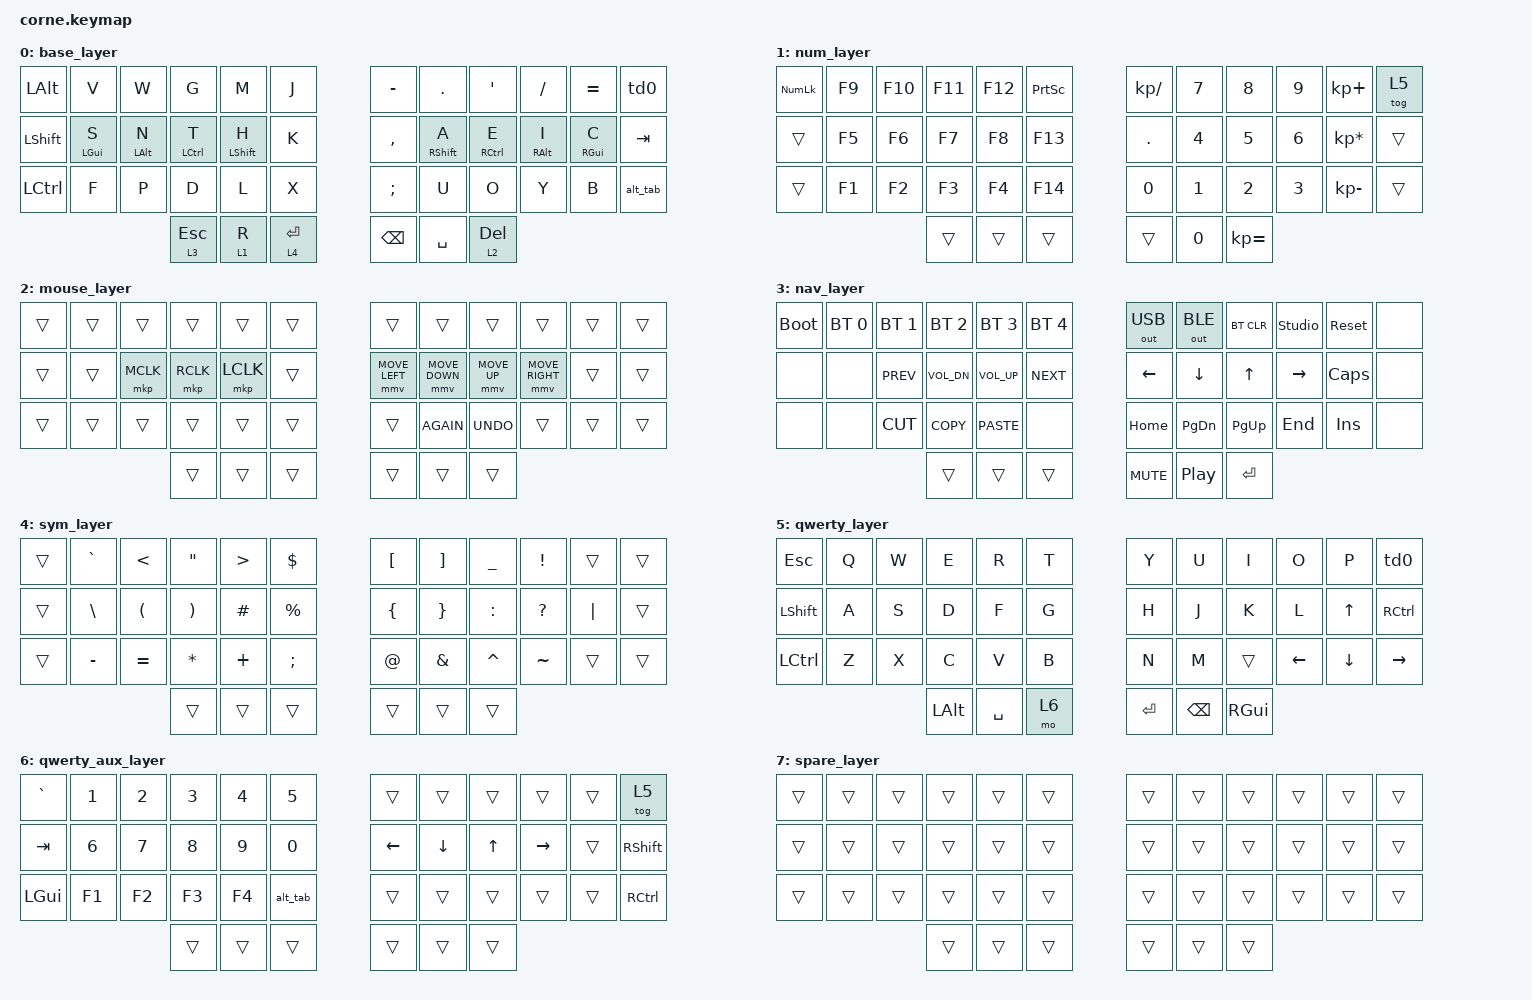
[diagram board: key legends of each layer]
/*
 * Hands Down Promethium, ported from vial-qmk (boardsource/unicorne).
 * Source of truth: promethium.vil, UID 0x73FD111F7F19C933.
 *
 * Key positions (used by the combos below):
 *    0  1  2  3  4  5     6  7  8  9 10 11
 *   12 13 14 15 16 17    18 19 20 21 22 23
 *   24 25 26 27 28 29    30 31 32 33 34 35
 *         36 37 38       39 40 41
 */

#include <behaviors.dtsi>
#include <dt-bindings/zmk/keys.h>
#include <dt-bindings/zmk/bt.h>
#include <dt-bindings/zmk/outputs.h>
#include <dt-bindings/zmk/pointing.h>

// Vial: mousekey_interval 20 x time_to_max 30 ~= 600ms to full speed.
// ZMK defaults to 300ms, which feels twitchy next to the original.
&mmv {
        time-to-max-speed-ms = <600>;
};

/ {
        behaviors {
                // Vial: tapping_term 200, quick_tap_term 200, flow_tap_term 80,
                // permissive_hold on, hold_on_other_key_press off -> "balanced".
                // Positional hold-tap: a mod only engages if the next key is on the
                // other hand, which kills same-hand roll misfires. Vial had
                // chordal_hold off, so this is an upgrade on the source, not a port.
                // hold-trigger-on-release keeps same-hand mod stacks (ctrl+shift).
                hml: home_row_mod_left {
                        compatible = "zmk,behavior-hold-tap";
                        #binding-cells = <2>;
                        flavor = "balanced";
                        tapping-term-ms = <200>;
                        quick-tap-ms = <200>;
                        require-prior-idle-ms = <80>;
                        hold-trigger-key-positions = <6 7 8 9 10 11 18 19 20 21 22 23 30 31 32 33 34 35 39 40 41>;
                        hold-trigger-on-release;
                        bindings = <&kp>, <&kp>;
                };

                hmr: home_row_mod_right {
                        compatible = "zmk,behavior-hold-tap";
                        #binding-cells = <2>;
                        flavor = "balanced";
                        tapping-term-ms = <200>;
                        quick-tap-ms = <200>;
                        require-prior-idle-ms = <80>;
                        hold-trigger-key-positions = <0 1 2 3 4 5 12 13 14 15 16 17 24 25 26 27 28 29 36 37 38>;
                        hold-trigger-on-release;
                        bindings = <&kp>, <&kp>;
                };

                // Same timings for the thumb layer-taps, minus require-prior-idle
                // so a layer press right after a keystroke still reaches the layer.
                ltb: layer_tap_balanced {
                        compatible = "zmk,behavior-hold-tap";
                        #binding-cells = <2>;
                        flavor = "balanced";
                        tapping-term-ms = <200>;
                        quick-tap-ms = <200>;
                        bindings = <&mo>, <&kp>;
                };

                // TD(0): tap and hold were both KC_RGUI, double tap toggles layer 5.
                td0: tap_dance_rgui {
                        compatible = "zmk,behavior-tap-dance";
                        #binding-cells = <0>;
                        tapping-term-ms = <200>;
                        bindings = <&kp RGUI>, <&tog 5>;
                };
        };

        macros {
                qu: qu_macro {
                        compatible = "zmk,behavior-macro";
                        #binding-cells = <0>;
                        bindings = <&kp Q &kp U>;
                };

                alt_tab: alt_tab_macro {
                        compatible = "zmk,behavior-macro";
                        #binding-cells = <0>;
                        bindings
                                = <&macro_press &kp LALT>
                                , <&macro_tap &kp TAB>
                                , <&macro_release &kp LALT>
                                ;
                };
        };

        combos {
                compatible = "zmk,combos";

                // layers = <0> is required, not cosmetic. Vial combos match on
                // keycode, ZMK combos match on position. Without this, positions
                // 7 8 9 are 7 8 9 on the number layer, so typing "78" would fire
                // TAB and "789" would fire alt-tab.
                // alt-tab used to be a 7+8+9 combo. Dropped: it made 7+8 (TAB) wait
                // out the full 50ms window to rule out a third key. alt_tab now
                // lives on position 35, which was dead on the base layer.
                combo_q       { timeout-ms = <50>; key-positions = <3 4>;   layers = <0>; bindings = <&kp Q>; };
                combo_z       { timeout-ms = <50>; key-positions = <2 3>;   layers = <0>; bindings = <&kp Z>; };
                combo_qu      { timeout-ms = <50>; key-positions = <2 4>;   layers = <0>; bindings = <&qu>; };
                // No caps combo. 28+31 were L and U, and "ul" lands in would,
                // could, should, result, difficult. A prior-idle guard fixed it
                // here but QMK has no per-combo equivalent, so the boards could
                // not match. CAPS lives on the nav layer at position 22, which
                // is cross-hand from the nav thumb.

                // Sticky symbols. Positions 6 and 9 are - and / : punctuation
                // rather than letters, so there is no bigram to misfire on, and
                // neither key is hot enough for the combo buffering to matter.
                // No prior-idle guard, symbols are needed mid-token (foo->bar).
                combo_sym     { timeout-ms = <50>; key-positions = <6 9>;   layers = <0>; bindings = <&sl 4>; };
        };

        keymap {
                compatible = "zmk,keymap";

                base_layer {
// -----------------------------------------------------------------------------------------
// | ALT  |  V  |  W  |  G  |  M  |  J  |   |  -  |  .  |  '  |  /  |  =  | TD0 |
// | SHFT |  S  |  N  |  T  |  H  |  K  |   |  ,  |  A  |  E  |  I  |  C  | TAB |
// | CTRL |  F  |  P  |  D  |  L  |  X  |   |  ;  |  U  |  O  |  Y  |  B  |ALTAB|
//                    |L3/ESC| L1/R| L4/ENT|  | BSPC | SPC | L2/DEL |
                        bindings = <
   &kp LALT  &kp V      &kp W      &kp G       &kp M       &kp J    &kp MINUS &kp DOT      &kp SQT      &kp FSLH    &kp EQUAL   &td0
   &kp LSHFT &hml LGUI S &hml LALT N &hml LCTRL T &hml LSHFT H &kp K  &kp COMMA &hmr RSHFT A &hmr RCTRL E &hmr RALT I &hmr RGUI C &kp TAB
   &kp LCTRL &kp F       &kp P       &kp D        &kp L        &kp X  &kp SEMI  &kp U        &kp O        &kp Y       &kp B       &alt_tab
                        &ltb 3 ESC &ltb 1 R    &ltb 4 RET            &kp BSPC    &kp SPACE &ltb 2 DEL
                        >;
                };

                num_layer {
// -----------------------------------------------------------------------------------------
// | NUM  | F9  | F10 | F11 | F12 | PSCR|   |  /  |  7  |  8  |  9  |  +  | TG5 |
// |      | F5  | F6  | F7  | F8  | F13 |   |  .  |  4  |  5  |  6  |  *  |     |
// |      | F1  | F2  | F3  | F4  | F14 |   |  0  |  1  |  2  |  3  |  -  |     |
//                    |     |     |     |   |BSPC |  0  |  =  |
                        bindings = <
   &kp KP_NUM &kp F9 &kp F10 &kp F11 &kp F12 &kp PSCRN   &kp KP_DIVIDE &kp N7 &kp N8 &kp N9 &kp KP_PLUS     &tog 5
   &trans     &kp F5 &kp F6  &kp F7  &kp F8  &kp F13     &kp DOT       &kp N4 &kp N5 &kp N6 &kp KP_MULTIPLY &trans
   &trans     &kp F1 &kp F2  &kp F3  &kp F4  &kp F14     &kp N0        &kp N1 &kp N2 &kp N3 &kp KP_MINUS    &trans
                     &trans  &trans  &trans               &trans       &kp N0 &kp KP_EQUAL
                        >;
                };

                mouse_layer {
// -----------------------------------------------------------------------------------------
// |      |     |     |     |     |     |   |     |     |     |     |     |     |
// |      |     | MB3 | MB2 | MB1 |     |   | ML  | MD  | MU  | MR  |     |     |
// |      |     |     |     |     |     |   |     |AGAIN|UNDO |     |     |     |
//                    |     |     |     |   |     |     |     |
                        bindings = <
   &trans &trans &trans    &trans    &trans    &trans   &trans         &trans         &trans       &trans          &trans &trans
   &trans &trans &mkp MCLK &mkp RCLK &mkp LCLK &trans   &mmv MOVE_LEFT &mmv MOVE_DOWN &mmv MOVE_UP &mmv MOVE_RIGHT &trans &trans
   &trans &trans &trans    &trans    &trans    &trans   &trans         &kp K_AGAIN    &kp K_UNDO   &trans          &trans &trans
                 &trans    &trans    &trans             &trans         &trans         &trans
                        >;
                };

                nav_layer {
// -----------------------------------------------------------------------------------------
// | BOOT | BT0 | BT1 | BT2 | BT3 | BT4 |   | USB | BLE |BTCLR|UNLCK|RESET|     |   <- added, was dead
// |      |     |PREV | VOL-| VOL+|NEXT |   | LFT | DWN |  UP | RGT | CAPS|     |
// |      |     | CUT | COPY|PASTE|     |   |HOME |PGDN |PGUP | END | INS |     |
//                    |     |     |     |   |MUTE |PLAY | ENT |   <- moved off the left thumbs, which now hold this layer
                        bindings = <
   &bootloader &bt BT_SEL 0 &bt BT_SEL 1 &bt BT_SEL 2 &bt BT_SEL 3 &bt BT_SEL 4   &out OUT_USB &out OUT_BLE &bt BT_CLR &studio_unlock &sys_reset &none
   &none       &none        &kp C_PREV   &kp C_VOL_DN &kp C_VOL_UP &kp C_NEXT     &kp LEFT     &kp DOWN     &kp UP     &kp RIGHT      &kp CAPS   &none
   &none       &none        &kp K_CUT    &kp K_COPY   &kp K_PASTE  &none          &kp HOME     &kp PG_DN    &kp PG_UP  &kp END        &kp INS    &none
                            &trans       &trans       &trans                      &kp C_MUTE   &kp C_PP     &kp RET
                        >;
                };

                sym_layer {
// -----------------------------------------------------------------------------------------
// |      |  `  |  <  |  "  |  >  |  $  |   |  [  |  ]  |  _  |  !  |     |     |
// |      |  \  |  (  |  )  |  #  |  %  |   |  {  |  }  |  :  |  ?  | "|" |     |
// |      |  -  |  =  |  *  |  +  |  ;  |   |  @  |  &  |  ^  |  ~  |     |     |
//                    |     |     |     |   |     |     |     |
                        bindings = <
   &trans &kp GRAVE &kp LT    &kp DQT   &kp GT    &kp DLLR    &kp LBKT &kp RBKT &kp UNDER &kp EXCL  &trans   &trans
   &trans &kp BSLH  &kp LPAR  &kp RPAR  &kp HASH  &kp PRCNT   &kp LBRC &kp RBRC &kp COLON &kp QMARK &kp PIPE &trans
   &trans &kp MINUS &kp EQUAL &kp ASTRK &kp PLUS  &kp SEMI    &kp AT   &kp AMPS &kp CARET &kp TILDE &trans   &trans
                    &trans    &trans    &trans                &trans   &trans   &trans
                        >;
                };

                qwerty_layer {
// -----------------------------------------------------------------------------------------
// | ESC  |  Q  |  W  |  E  |  R  |  T  |   |  Y  |  U  |  I  |  O  |  P  | TD0 |
// | SHFT |  A  |  S  |  D  |  F  |  G  |   |  H  |  J  |  K  |  L  | UP  |CTRL |
// | CTRL |  Z  |  X  |  C  |  V  |  B  |   |  N  |  M  |     | LFT | DWN | RGT |
//                    | ALT | SPC | L6  |   | ENT |BSPC | GUI |
                        bindings = <
   &kp ESC   &kp Q &kp W &kp E &kp R &kp T   &kp Y &kp U &kp I  &kp O    &kp P    &td0
   &kp LSHFT &kp A &kp S &kp D &kp F &kp G   &kp H &kp J &kp K  &kp L    &kp UP   &kp RCTRL
   &kp LCTRL &kp Z &kp X &kp C &kp V &kp B   &kp N &kp M &trans &kp LEFT &kp DOWN &kp RIGHT
                   &kp LALT &kp SPACE &mo 6   &kp RET &kp BSPC &kp RGUI
                        >;
                };

                qwerty_aux_layer {
// -----------------------------------------------------------------------------------------
// |  `   |  1  |  2  |  3  |  4  |  5  |   |     |     |     |     |     | TG5 |
// | TAB  |  6  |  7  |  8  |  9  |  0  |   | LFT | DWN |  UP | RGT |     |SHFT |
// | GUI  | F1  | F2  | F3  | F4  |ALTAB|   |     |     |     |     |     |CTRL |
//                    |     |     |     |   |     |     |     |
                        bindings = <
   &kp GRAVE &kp N1 &kp N2 &kp N3 &kp N4 &kp N5     &trans   &trans   &trans &trans    &trans &tog 5
   &kp TAB   &kp N6 &kp N7 &kp N8 &kp N9 &kp N0     &kp LEFT &kp DOWN &kp UP &kp RIGHT &trans &kp RSHFT
   &kp LGUI  &kp F1 &kp F2 &kp F3 &kp F4 &alt_tab   &trans   &trans   &trans &trans    &trans &kp RCTRL
                    &trans &trans &trans            &trans   &trans   &trans
                        >;
                };

                spare_layer {
// Layer 7 was empty in Vial. Kept so layer numbering matches and ZMK Studio has room.
                        bindings = <
   &trans &trans &trans &trans &trans &trans   &trans &trans &trans &trans &trans &trans
   &trans &trans &trans &trans &trans &trans   &trans &trans &trans &trans &trans &trans
   &trans &trans &trans &trans &trans &trans   &trans &trans &trans &trans &trans &trans
                 &trans &trans &trans          &trans &trans &trans
                        >;
                };
        };
};
